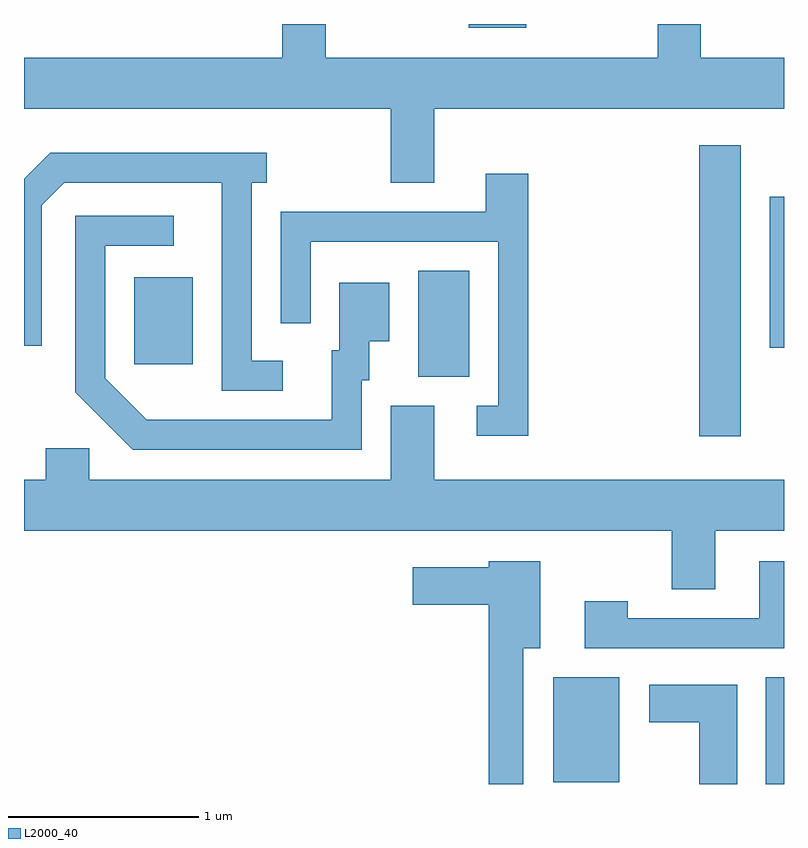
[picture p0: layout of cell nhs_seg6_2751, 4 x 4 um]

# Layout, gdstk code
import gdstk
lib = gdstk.Library(unit=1e-6, precision=1e-09)
def R(c, l, rs):  # rectangles x0, y0, x1, y1
    for r in rs: c.add(gdstk.rectangle(r[:2], r[2:], *l))
def P(c, l, *ps):  # polygons
    for p in ps: c.add(gdstk.Polygon(p, *l))
L2000_40 = (2000, 40)

nhs_seg6_2751 = lib.new_cell('nhs_seg6_2751')
R(nhs_seg6_2751, L2000_40, [(271.516,1644.162,271.611,1644.724), (270.396,1644.171,270.744,1644.724), (271.166,1645.991,271.384,1647.524), (269.686,1646.306,269.954,1646.864), (268.191,1646.371,268.499,1646.829), (271.536,1646.458,271.611,1647.254), (269.951,1648.141,270.254,1648.162)])
P(nhs_seg6_2751, L2000_40, [(269.769,1647.716),(271.611,1647.716),(271.611,1647.984),(271.174,1647.984),(271.174,1648.162),(270.946,1648.162),(270.946,1647.984),(269.199,1647.984),(269.199,1648.162),(268.971,1648.162),(268.971,1647.984),(267.611,1647.984),(267.611,1647.716),(269.541,1647.716),(269.541,1647.326),(269.769,1647.326)],
  [(268.973,1646.389),(268.809,1646.389),(268.809,1647.326),(268.888,1647.326),(268.888,1647.484),(267.749,1647.484),(267.611,1647.347),(267.611,1646.468),(267.704,1646.468),(267.704,1647.209),(267.822,1647.326),(268.651,1647.326),(268.651,1646.231),(268.973,1646.231)],
  [(270.264,1647.374),(270.041,1647.374),(270.041,1647.174),(268.961,1647.174),(268.961,1646.588),(269.119,1646.588),(269.119,1647.016),(270.106,1647.016),(270.106,1646.154),(269.993,1646.154),(269.993,1645.996),(270.264,1645.996)],
  [(269.389,1646.286),(269.429,1646.286),(269.429,1646.491),(269.534,1646.491),(269.534,1646.799),(269.271,1646.799),(269.271,1646.444),(269.231,1646.444),(269.231,1646.079),(268.257,1646.079),(268.039,1646.297),(268.039,1646.996),(268.398,1646.996),(268.398,1647.154),(267.881,1647.154),(267.881,1646.224),(268.184,1645.921),(269.389,1645.921)],
  [(271.249,1645.496),(271.611,1645.496),(271.611,1645.764),(269.769,1645.764),(269.769,1646.154),(269.541,1646.154),(269.541,1645.764),(267.954,1645.764),(267.954,1645.929),(267.726,1645.929),(267.726,1645.764),(267.611,1645.764),(267.611,1645.496),(271.021,1645.496),(271.021,1645.186),(271.249,1645.186)],
  [(271.611,1645.334),(271.481,1645.334),(271.481,1645.034),(270.789,1645.034),(270.789,1645.124),(270.561,1645.124),(270.561,1644.876),(271.611,1644.876)],
  [(270.239,1644.876),(270.329,1644.876),(270.329,1645.334),(270.056,1645.334),(270.056,1645.304),(269.656,1645.304),(269.656,1645.106),(270.056,1645.106),(270.056,1644.162),(270.239,1644.162)],
  [(271.364,1644.684),(270.901,1644.684),(270.901,1644.486),(271.166,1644.486),(271.166,1644.162),(271.364,1644.162)])

lib.write_gds('nhs_seg6_2751.gds')
